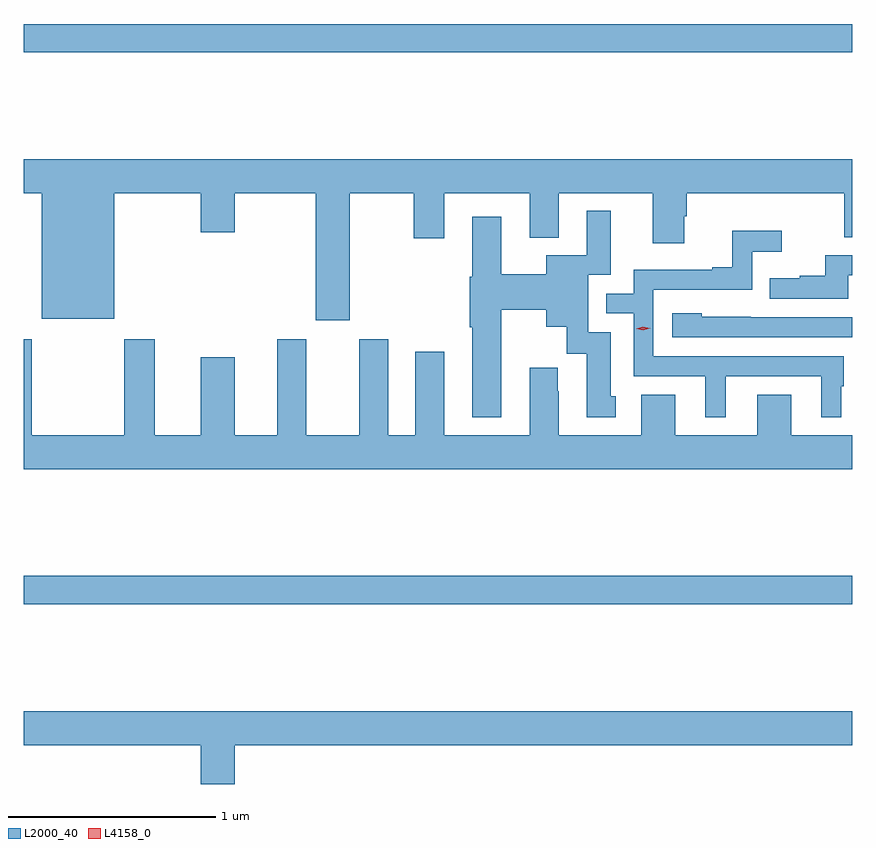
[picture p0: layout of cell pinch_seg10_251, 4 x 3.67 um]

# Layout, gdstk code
import gdstk
lib = gdstk.Library(unit=1e-6, precision=1e-09)
def R(c, l, rs):  # rectangles x0, y0, x1, y1
    for r in rs: c.add(gdstk.rectangle(r[:2], r[2:], *l))
def P(c, l, *ps):  # polygons
    for p in ps: c.add(gdstk.Polygon(p, *l))
L2000_40 = (2000, 40)
L4158_0 = (4158, 0)

pinch_seg10_251 = lib.new_cell('pinch_seg10_251')
R(pinch_seg10_251, L2000_40, [(547.769,1307.656,551.769,1307.792), (547.769,1310.32,551.769,1310.456)])
P(pinch_seg10_251, L2000_40, [(547.769,1309.64),(547.856,1309.64),(547.856,1309.034),(548.206,1309.034),(548.206,1309.64),(548.624,1309.64),(548.624,1309.452),(548.788,1309.452),(548.788,1309.64),(549.179,1309.64),(549.179,1309.026),(549.343,1309.026),(549.343,1309.64),(549.652,1309.64),(549.652,1309.422),(549.799,1309.422),(549.799,1309.64),(550.211,1309.64),(550.211,1309.424),(550.351,1309.424),(550.351,1309.64),(550.805,1309.64),(550.805,1309.398),(550.957,1309.398),(550.957,1309.527),(550.97,1309.527),(550.97,1309.64),(551.73,1309.64),(551.73,1309.426),(551.769,1309.426),(551.769,1309.804),(547.769,1309.804)],
  [(550.075,1309.076),(550.292,1309.076),(550.292,1308.995),(550.391,1308.995),(550.391,1308.864),(550.487,1308.864),(550.487,1308.558),(550.627,1308.558),(550.627,1308.66),(550.603,1308.66),(550.603,1308.969),(550.494,1308.969),(550.494,1309.245),(550.603,1309.245),(550.603,1309.555),(550.487,1309.555),(550.487,1309.339),(550.292,1309.339),(550.292,1309.248),(550.075,1309.248),(550.075,1309.525),(549.935,1309.525),(549.935,1309.236),(549.923,1309.236),(549.923,1308.992),(549.935,1308.992),(549.935,1308.557),(550.075,1308.557)],
  [(551.158,1308.756),(551.618,1308.756),(551.618,1308.557),(551.716,1308.557),(551.716,1308.708),(551.728,1308.708),(551.728,1308.852),(550.809,1308.852),(550.809,1309.173),(551.286,1309.173),(551.286,1309.358),(551.428,1309.358),(551.428,1309.457),(551.188,1309.457),(551.188,1309.282),(551.093,1309.282),(551.093,1309.269),(550.713,1309.269),(550.713,1309.155),(550.58,1309.155),(550.58,1309.059),(550.713,1309.059),(550.713,1308.756),(551.06,1308.756),(551.06,1308.557),(551.158,1308.557)],
  [(551.749,1309.244),(551.769,1309.244),(551.769,1309.341),(551.639,1309.341),(551.639,1309.24),(551.515,1309.24),(551.515,1309.228),(551.371,1309.228),(551.371,1309.131),(551.749,1309.131)],
  [(551.769,1309.041),(551.279,1309.041),(551.279,1309.042),(551.043,1309.042),(551.043,1309.06),(550.899,1309.06),(550.899,1308.945),(551.769,1308.945)],
  [(551.769,1308.472),(551.473,1308.472),(551.473,1308.667),(551.309,1308.667),(551.309,1308.472),(550.915,1308.472),(550.915,1308.667),(550.751,1308.667),(550.751,1308.472),(550.351,1308.472),(550.351,1308.683),(550.348,1308.683),(550.348,1308.796),(550.211,1308.796),(550.211,1308.472),(549.799,1308.472),(549.799,1308.874),(549.659,1308.874),(549.659,1308.472),(549.529,1308.472),(549.529,1308.934),(549.389,1308.934),(549.389,1308.472),(549.133,1308.472),(549.133,1308.934),(548.993,1308.934),(548.993,1308.472),(548.788,1308.472),(548.788,1308.847),(548.624,1308.847),(548.624,1308.472),(548.401,1308.472),(548.401,1308.934),(548.254,1308.934),(548.254,1308.472),(547.809,1308.472),(547.809,1308.934),(547.769,1308.934),(547.769,1308.308),(551.769,1308.308)],
  [(548.788,1306.976),(551.769,1306.976),(551.769,1307.14),(547.769,1307.14),(547.769,1306.976),(548.624,1306.976),(548.624,1306.788),(548.788,1306.788)])
P(pinch_seg10_251, L4158_0, [(550.759,1308.977),(550.725,1308.985),(550.724,1308.985),(550.725,1308.985),(550.758,1308.996),(550.793,1308.988),(550.794,1308.988),(550.793,1308.988)])

lib.write_gds('pinch_seg10_251.gds')
